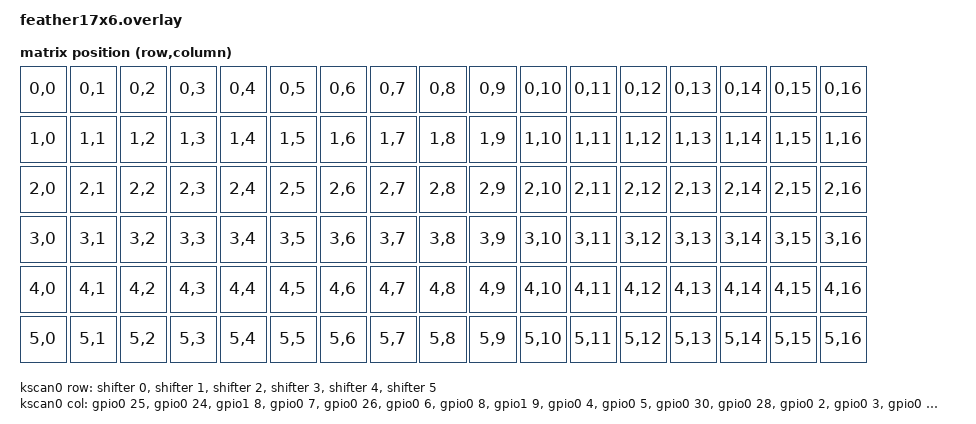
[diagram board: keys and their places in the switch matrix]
#include <dt-bindings/gpio/gpio.h>
#include <dt-bindings/zmk/matrix_transform.h>

#include "feather17x6-layouts.dtsi"

/ {
    chosen {
        zmk,kscan = &kscan0;
        zmk,physical-layout = &physical_layout0;
    };

    /*
     * ============================================================
     * KEYBOARD MATRIX
     * ============================================================
     *
     * 6 rows  x  17 columns
     *
     * Rows:
     *   Q0 -> Row 1
     *   Q1 -> Row 2
     *   Q2 -> Row 3
     *   Q3 -> Row 4
     *   Q4 -> Row 5
     *   Q5 -> Row 6
     *
     * Columns:
     *   C1  -> P0.25
     *   C2  -> P0.24
     *   C3  -> P1.08
     *   C4  -> P0.07
     *   C5  -> P0.26
     *   C6  -> P0.06
     *   C7  -> P0.08
     *   C8  -> P1.09
     *   C9  -> P0.04
     *   C10 -> P0.05
     *   C11 -> P0.30
     *   C12 -> P0.28
     *   C13 -> P0.02
     *   C14 -> P0.03
     *   C15 -> P0.12  (SDA-labeled pin)
     *   C16 -> P0.11  (SCL-labeled pin)
     *   C17 -> P0.15  (MISO-labeled pin)
     *
     * UART D0/D1 and I2C SDA/SCL are therefore ordinary GPIOs.
     * We are NOT enabling UART or I2C peripherals on these pins.
     */

    kscan0: kscan0 {
        compatible = "zmk,kscan-gpio-matrix";

        diode-direction = "row2col";

        /*
         * Rows are driven by the 74HC595.
         */
        row-gpios =
            <&shifter 0 GPIO_ACTIVE_HIGH>,
            <&shifter 1 GPIO_ACTIVE_HIGH>,
            <&shifter 2 GPIO_ACTIVE_HIGH>,
            <&shifter 3 GPIO_ACTIVE_HIGH>,
            <&shifter 4 GPIO_ACTIVE_HIGH>,
            <&shifter 5 GPIO_ACTIVE_HIGH>;

        /*
         * Columns are Feather GPIO inputs.
         *
         * Pull-downs keep the inputs defined while a row
         * is not being driven.
         */
        col-gpios =
            <&gpio0 25 (GPIO_ACTIVE_HIGH | GPIO_PULL_DOWN)>,
            <&gpio0 24 (GPIO_ACTIVE_HIGH | GPIO_PULL_DOWN)>,
            <&gpio1 8  (GPIO_ACTIVE_HIGH | GPIO_PULL_DOWN)>,
            <&gpio0 7  (GPIO_ACTIVE_HIGH | GPIO_PULL_DOWN)>,
            <&gpio0 26 (GPIO_ACTIVE_HIGH | GPIO_PULL_DOWN)>,
            <&gpio0 6  (GPIO_ACTIVE_HIGH | GPIO_PULL_DOWN)>,
            <&gpio0 8  (GPIO_ACTIVE_HIGH | GPIO_PULL_DOWN)>,
            <&gpio1 9  (GPIO_ACTIVE_HIGH | GPIO_PULL_DOWN)>,
            <&gpio0 4  (GPIO_ACTIVE_HIGH | GPIO_PULL_DOWN)>,
            <&gpio0 5  (GPIO_ACTIVE_HIGH | GPIO_PULL_DOWN)>,
            <&gpio0 30 (GPIO_ACTIVE_HIGH | GPIO_PULL_DOWN)>,
            <&gpio0 28 (GPIO_ACTIVE_HIGH | GPIO_PULL_DOWN)>,
            <&gpio0 2  (GPIO_ACTIVE_HIGH | GPIO_PULL_DOWN)>,
            <&gpio0 3  (GPIO_ACTIVE_HIGH | GPIO_PULL_DOWN)>,
            <&gpio0 12 (GPIO_ACTIVE_HIGH | GPIO_PULL_DOWN)>,
            <&gpio0 11 (GPIO_ACTIVE_HIGH | GPIO_PULL_DOWN)>,
            <&gpio0 15 (GPIO_ACTIVE_HIGH | GPIO_PULL_DOWN)>;
    };

    /*
     * ============================================================
     * 6 x 17 MATRIX TRANSFORM
     * ============================================================
     *
     * This is a basic row-major mapping.
     *
     * 102 possible matrix positions exist.
     * The basic layout below uses all 102 positions.
     */
    default_transform: matrix_transform {
        compatible = "zmk,matrix-transform";

        rows = <6>;
        columns = <17>;

        map = <
            RC(0,0)  RC(0,1)  RC(0,2)  RC(0,3)  RC(0,4)  RC(0,5)  RC(0,6)  RC(0,7)  RC(0,8)  RC(0,9)  RC(0,10) RC(0,11) RC(0,12) RC(0,13) RC(0,14) RC(0,15) RC(0,16)
            RC(1,0)  RC(1,1)  RC(1,2)  RC(1,3)  RC(1,4)  RC(1,5)  RC(1,6)  RC(1,7)  RC(1,8)  RC(1,9)  RC(1,10) RC(1,11) RC(1,12) RC(1,13) RC(1,14) RC(1,15) RC(1,16)
            RC(2,0)  RC(2,1)  RC(2,2)  RC(2,3)  RC(2,4)  RC(2,5)  RC(2,6)  RC(2,7)  RC(2,8)  RC(2,9)  RC(2,10) RC(2,11) RC(2,12) RC(2,13) RC(2,14) RC(2,15) RC(2,16)
            RC(3,0)  RC(3,1)  RC(3,2)  RC(3,3)  RC(3,4)  RC(3,5)  RC(3,6)  RC(3,7)  RC(3,8)  RC(3,9)  RC(3,10) RC(3,11) RC(3,12) RC(3,13) RC(3,14) RC(3,15) RC(3,16)
            RC(4,0)  RC(4,1)  RC(4,2)  RC(4,3)  RC(4,4)  RC(4,5)  RC(4,6)  RC(4,7)  RC(4,8)  RC(4,9)  RC(4,10) RC(4,11) RC(4,12) RC(4,13) RC(4,14) RC(4,15) RC(4,16)
            RC(5,0)  RC(5,1)  RC(5,2)  RC(5,3)  RC(5,4)  RC(5,5)  RC(5,6)  RC(5,7)  RC(5,8)  RC(5,9)  RC(5,10) RC(5,11) RC(5,12) RC(5,13) RC(5,14) RC(5,15) RC(5,16)
        >;
    };
};


/*
 * ================================================================
 * 74HC595
 * ================================================================
 *
 * Feather:
 *
 *   MOSI P0.13 -> 595 pin 14 SER
 *   SCK  P0.14 -> 595 pin 11 SRCLK
 *   D10  P0.27 -> 595 pin 12 RCLK
 *
 * 595:
 *
 *   pin 16 VCC -> 3.3V
 *   pin 8  GND -> GND
 *   pin 10 SRCLR -> 3.3V
 *   pin 13 OE -> GND
 */

&spi1 {
    status = "okay";

    /*
     * Hardware latch/CS.
     *
     * P0.27 / Feather D10
     */
    cs-gpios = <&gpio0 27 GPIO_ACTIVE_LOW>;

    shifter: shifter@0 {
        compatible = "zmk,gpio-595";

        status = "okay";

        reg = <0>;

        gpio-controller;
        #gpio-cells = <2>;

        ngpios = <8>;

        /*
         * 1 MHz is comfortably fast for this matrix.
         */
        spi-max-frequency = <1000000>;
    };
};
